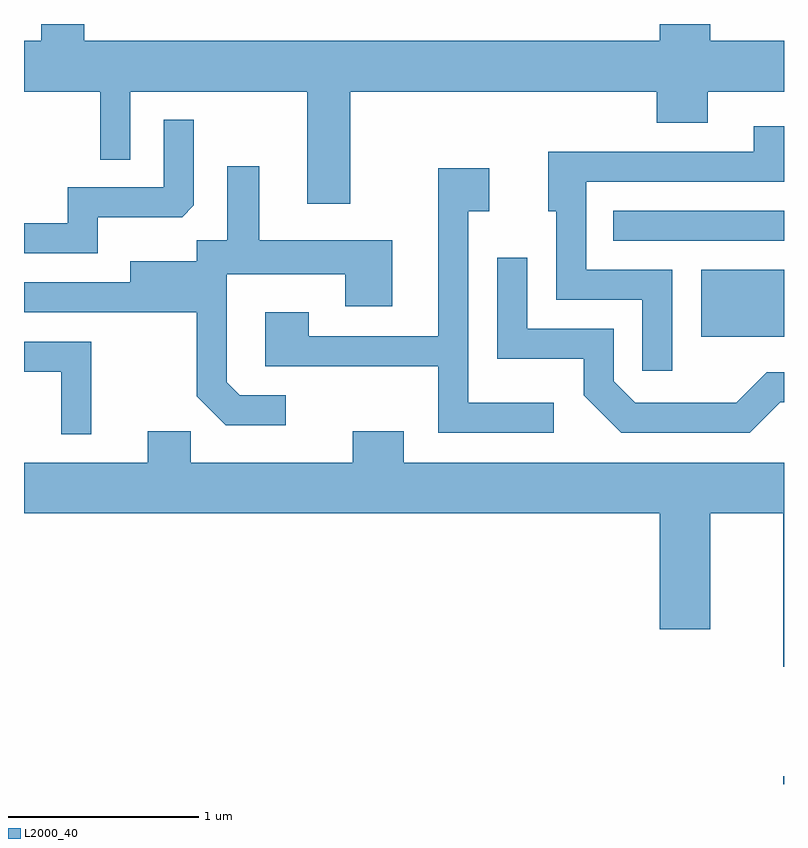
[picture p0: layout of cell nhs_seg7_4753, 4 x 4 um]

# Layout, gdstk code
import gdstk
lib = gdstk.Library(unit=1e-6, precision=1e-09)
def R(c, l, rs):  # rectangles x0, y0, x1, y1
    for r in rs: c.add(gdstk.rectangle(r[:2], r[2:], *l))
def P(c, l, *ps):  # polygons
    for p in ps: c.add(gdstk.Polygon(p, *l))
L2000_40 = (2000, 40)

nhs_seg7_4753 = lib.new_cell('nhs_seg7_4753')
R(nhs_seg7_4753, L2000_40, [(335.606,1686.252,335.611,1686.293), (335.176,1688.606,335.611,1688.959), (334.713,1689.111,335.611,1689.269)])
P(nhs_seg7_4753, L2000_40, [(333.329,1689.896),(334.941,1689.896),(334.941,1689.731),(335.209,1689.731),(335.209,1689.896),(335.611,1689.896),(335.611,1690.164),(335.224,1690.164),(335.224,1690.252),(334.956,1690.252),(334.956,1690.164),(331.929,1690.164),(331.929,1690.252),(331.701,1690.252),(331.701,1690.164),(331.611,1690.164),(331.611,1689.896),(332.011,1689.896),(332.011,1689.538),(332.169,1689.538),(332.169,1689.896),(333.101,1689.896),(333.101,1689.306),(333.329,1689.306)],
  [(331.999,1689.236),(332.444,1689.236),(332.504,1689.297),(332.504,1689.748),(332.346,1689.748),(332.346,1689.394),(331.841,1689.394),(331.841,1689.204),(331.611,1689.204),(331.611,1689.046),(331.999,1689.046)],
  [(335.024,1688.959),(334.569,1688.959),(334.569,1689.421),(335.611,1689.421),(335.611,1689.714),(335.451,1689.714),(335.451,1689.579),(334.371,1689.579),(334.371,1689.266),(334.411,1689.266),(334.411,1688.801),(334.866,1688.801),(334.866,1688.428),(335.024,1688.428)],
  [(332.988,1688.299),(332.747,1688.299),(332.679,1688.367),(332.679,1688.936),(333.301,1688.936),(333.301,1688.766),(333.549,1688.766),(333.549,1689.114),(332.849,1689.114),(332.849,1689.503),(332.681,1689.503),(332.681,1689.114),(332.521,1689.114),(332.521,1689.004),(332.171,1689.004),(332.171,1688.894),(331.611,1688.894),(331.611,1688.736),(332.521,1688.736),(332.521,1688.294),(332.674,1688.141),(332.988,1688.141)],
  [(334.398,1688.259),(333.949,1688.259),(333.949,1689.266),(334.059,1689.266),(334.059,1689.494),(333.791,1689.494),(333.791,1688.609),(333.109,1688.609),(333.109,1688.734),(332.881,1688.734),(332.881,1688.451),(333.791,1688.451),(333.791,1688.101),(334.398,1688.101)],
  [(335.592,1688.261),(335.611,1688.261),(335.611,1688.419),(335.519,1688.419),(335.359,1688.259),(334.827,1688.259),(334.714,1688.372),(334.714,1688.649),(334.259,1688.649),(334.259,1689.023),(334.101,1689.023),(334.101,1688.491),(334.556,1688.491),(334.556,1688.299),(334.754,1688.101),(335.432,1688.101)],
  [(331.964,1688.579),(331.611,1688.579),(331.611,1688.421),(331.806,1688.421),(331.806,1688.093),(331.964,1688.093)],
  [(335.611,1687.944),(333.609,1687.944),(333.609,1688.109),(333.341,1688.109),(333.341,1687.944),(332.489,1687.944),(332.489,1688.109),(332.261,1688.109),(332.261,1687.944),(331.611,1687.944),(331.611,1687.676),(334.956,1687.676),(334.956,1687.066),(335.224,1687.066),(335.224,1687.676),(335.606,1687.676),(335.606,1686.868),(335.611,1686.868)])

lib.write_gds('nhs_seg7_4753.gds')
